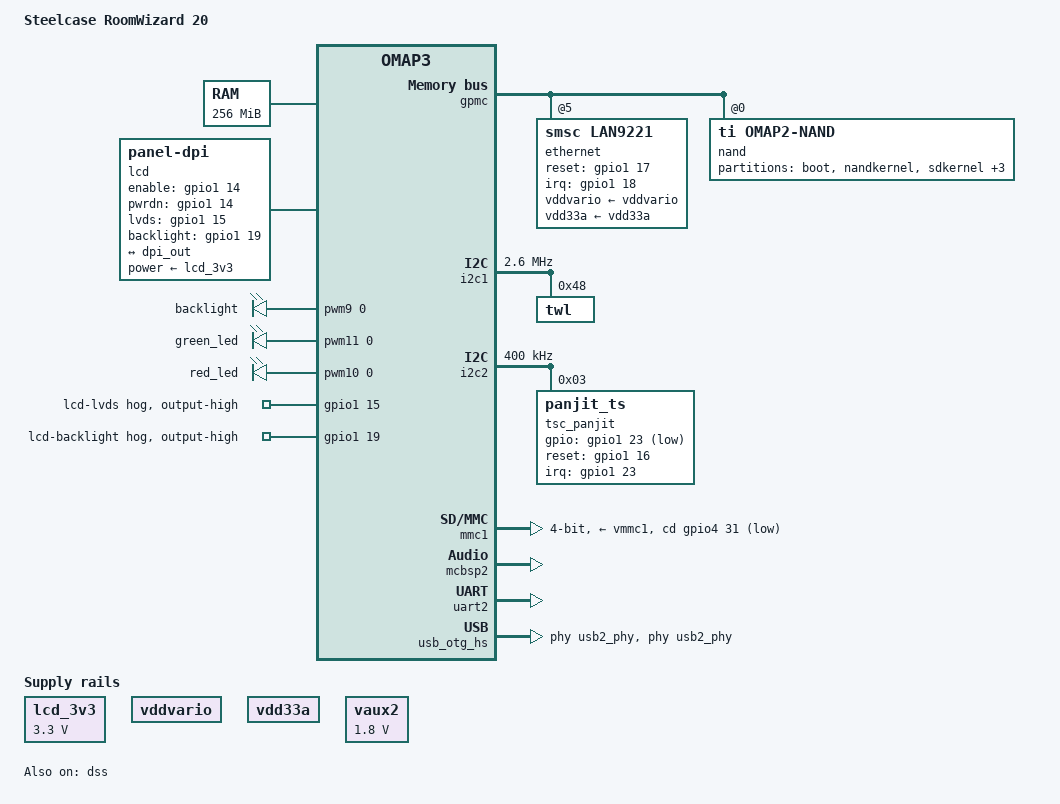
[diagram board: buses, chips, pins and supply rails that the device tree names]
// SPDX-License-Identifier: GPL-2.0-only
/*
 * rw20: the Steelcase RoomWizard 20 wall display, as the board our 4.14.52 image boots on.
 *
 * TI OMAP3503 (OMAP34xx dtsi), 256 MB RAM at 0x80000000, TWL4030 PMIC on I2C1, a 800x480 LVDS
 * panel on the DSS DPI port driven by the stock panel-dpi driver, an SMSC LAN9221 and a NAND on
 * the GPMC, one SD slot (MMC1), the console on UART2 (ttyO1), the USB OTG port on the TWL4030
 * PHY with the host controller's two ports in PHY mode, and LEDs and backlight driven by three
 * dmtimer PWMs. Authored from board facts (addresses, GPIO lines, pad settings and panel timing
 * measured on a unit; SYSTEM_ANALYSIS.md, HARDWARE.md), on top of the mainline dtsi files.
 *
 * Built by kernel/build-image.sh with the kernel tree's own include path and appended to
 * zImage. The bootloader fills /chosen (bootargs) at boot; nothing here sets it.
 */

/dts-v1/;

#include <dt-bindings/gpio/gpio.h>
#include <dt-bindings/interrupt-controller/irq.h>
#include <dt-bindings/pinctrl/omap.h>

#include "omap34xx.dtsi"

/ {
	model = "Steelcase RoomWizard 20";
	compatible = "ti,omap3-rw20", "ti,omap3";

	/*
	 * The TWL4030 is I2C bus 1 here, and the whole userspace (/dev/i2c-1 for the PMIC)
	 * counts that way. The mainline dtsi numbers its buses from 0, so those aliases go.
	 */
	aliases {
		/delete-property/ i2c0;
		display0 = &lcd0;
		i2c1 = &i2c1;
		i2c2 = &i2c2;
		i2c3 = &i2c3;
	};

	cpus {
		cpu@0 {
			cpu0-supply = <&vcc>;
		};
	};

	memory {
		device_type = "memory";
		reg = <0x80000000 0x10000000>;
	};

	/* The LCD logic supply: a fixed 3.3 V rail, no switch. */
	lcd_3v3: regulator-lcd-3v3 {
		compatible = "regulator-fixed";
		regulator-name = "lcd_3v3";
		regulator-min-microvolt = <3300000>;
		regulator-max-microvolt = <3300000>;
		startup-delay-us = <70000>;
	};

	/* The two supply rails the LAN9221 driver asks for by name. */
	vddvario: regulator-vddvario {
		compatible = "regulator-fixed";
		regulator-name = "vddvario";
		regulator-always-on;
	};

	vdd33a: regulator-vdd33a {
		compatible = "regulator-fixed";
		regulator-name = "vdd33a";
		regulator-always-on;
	};

	/*
	 * The 800x480 panel on the DPI port, claimed by omapfb's panel-dpi. That driver drives only
	 * enable-gpios (gpio1 line 14, power-down). The LVDS transmitter (line 15) and the backlight
	 * switch (line 19) are held high by hogs on &gpio1 below. The timings are the panel's own;
	 * omapfb sizes fb0 from data-lines, and syncclk-active is honoured by
	 * kernel/patches/omapdss-honour-syncclk-active.patch.
	 */
	lcd0: display {
		compatible = "panel-dpi";
		label = "lcd";
		data-lines = <24>;
		enable-gpios = <&gpio1 14 GPIO_ACTIVE_HIGH>;
		pwrdn-gpios = <&gpio1 14 GPIO_ACTIVE_HIGH>;
		lvds-gpios = <&gpio1 15 GPIO_ACTIVE_HIGH>;
		backlight-gpios = <&gpio1 19 GPIO_ACTIVE_HIGH>;
		power-supply = <&lcd_3v3>;

		panel-timing {
			clock-frequency = <33230770>;
			hactive = <800>;
			vactive = <480>;
			hsync-len = <128>;
			hfront-porch = <40>;
			hback-porch = <88>;
			vsync-len = <9>;
			vfront-porch = <9>;
			vback-porch = <26>;
			hsync-active = <0>;
			vsync-active = <0>;
			de-active = <1>;
			pixelclk-active = <1>;
			syncclk-active = <0>;
		};

		port {
			lcd_in: endpoint {
				remote-endpoint = <&dpi_out>;
			};
		};
	};

	/*
	 * Backlight and the two LED colours are PWM outputs of GPTIMER9, 10 and 11 (800 Hz). The
	 * node names carry the timer number without a reg, as the userspace-visible platform device
	 * names do.
	 */
	pwm9: dmtimer-pwm@9 {
		compatible = "ti,omap-dmtimer-pwm";
		#pwm-cells = <3>;
		ti,timers = <&timer9>;
		pinctrl-names = "default";
		pinctrl-0 = <&pinmux_backlight_pin>;
		status = "okay";
	};

	pwm10: dmtimer-pwm@10 {
		compatible = "ti,omap-dmtimer-pwm";
		#pwm-cells = <3>;
		ti,timers = <&timer10>;
		pinctrl-names = "default";
		pinctrl-0 = <&pinmux_red_led_pin>;
		status = "okay";
	};

	pwm11: dmtimer-pwm@11 {
		compatible = "ti,omap-dmtimer-pwm";
		#pwm-cells = <3>;
		ti,timers = <&timer11>;
		pinctrl-names = "default";
		pinctrl-0 = <&pinmux_green_led_pin>;
		status = "okay";
	};

	pwmleds {
		compatible = "pwm-leds";

		backlight {
			pwms = <&pwm9 0 1250000 0>;
			pwm-names = "backlight";
			max-brightness = <100>;
			brightness = <100>;
		};

		green_led {
			pwms = <&pwm11 0 1250000 0>;
			pwm-names = "green_led";
			max-brightness = <100>;
			brightness = <50>;
		};

		red_led {
			pwms = <&pwm10 0 1250000 0>;
			pwm-names = "red_led";
			max-brightness = <100>;
			brightness = <50>;
		};
	};

	/* The speaker amplifier is muted by gpio12; the mute pad is set up as GPIO output. */
	sound {
		compatible = "ti,omap-twl4030";
		ti,model = "rw20";
		ti,mcbsp = <&mcbsp2>;
		pinctrl-names = "default";
		pinctrl-0 = <&pinmux_spk_mute_pins>;
	};

	/* omap3.dtsi's PMU names no CPU for its interrupt, so perf logs "guessing" at boot. */
	pmu@54000000 {
		interrupt-affinity = <&cpu>;
	};
};

/*
 * Pad configuration. Core pads sit at 0x48002030 + offset (OMAP3_CORE1_IOPAD takes the absolute
 * address); the second block starting at 0x480025d8 holds the ETK pads used as GPIOs.
 */
&omap3_pmx_core {
	pinmux_backlight_pin: pinmux_backlight_pin {
		pinctrl-single,pins = <
			OMAP3_CORE1_IOPAD(0x21d8, PIN_OUTPUT | MUX_MODE1)	/* mcspi2_simo.gpt9_pwm_evt */
		>;
	};

	pinmux_red_led_pin: pinmux_red_led_pin {
		pinctrl-single,pins = <
			OMAP3_CORE1_IOPAD(0x21da, PIN_OUTPUT | MUX_MODE1)	/* mcspi2_somi.gpt10_pwm_evt */
		>;
	};

	pinmux_green_led_pin: pinmux_green_led_pin {
		pinctrl-single,pins = <
			OMAP3_CORE1_IOPAD(0x21dc, PIN_OUTPUT | MUX_MODE1)	/* mcspi2_cs0.gpt11_pwm_evt */
		>;
	};

	pinmux_dss_dpi_pins: pinmux_dss_dpi_pins {
		pinctrl-single,pins = <
			OMAP3_CORE1_IOPAD(0x20d4, PIN_OUTPUT | MUX_MODE0)	/* dss_pclk.dss_pclk */
			OMAP3_CORE1_IOPAD(0x20d6, PIN_OUTPUT | MUX_MODE0)	/* dss_hsync.dss_hsync */
			OMAP3_CORE1_IOPAD(0x20d8, PIN_OUTPUT | MUX_MODE0)	/* dss_vsync.dss_vsync */
			OMAP3_CORE1_IOPAD(0x20da, PIN_OUTPUT | MUX_MODE0)	/* dss_acbias.dss_acbias */
			OMAP3_CORE1_IOPAD(0x20dc, PIN_OUTPUT | MUX_MODE0)	/* dss_data0.dss_data0 */
			OMAP3_CORE1_IOPAD(0x20de, PIN_OUTPUT | MUX_MODE0)	/* dss_data1.dss_data1 */
			OMAP3_CORE1_IOPAD(0x20e0, PIN_OUTPUT | MUX_MODE0)	/* dss_data2.dss_data2 */
			OMAP3_CORE1_IOPAD(0x20e2, PIN_OUTPUT | MUX_MODE0)	/* dss_data3.dss_data3 */
			OMAP3_CORE1_IOPAD(0x20e4, PIN_OUTPUT | MUX_MODE0)	/* dss_data4.dss_data4 */
			OMAP3_CORE1_IOPAD(0x20e6, PIN_OUTPUT | MUX_MODE0)	/* dss_data5.dss_data5 */
			OMAP3_CORE1_IOPAD(0x20e8, PIN_OUTPUT | MUX_MODE0)	/* dss_data6.dss_data6 */
			OMAP3_CORE1_IOPAD(0x20ea, PIN_OUTPUT | MUX_MODE0)	/* dss_data7.dss_data7 */
			OMAP3_CORE1_IOPAD(0x20ec, PIN_OUTPUT | MUX_MODE0)	/* dss_data8.dss_data8 */
			OMAP3_CORE1_IOPAD(0x20ee, PIN_OUTPUT | MUX_MODE0)	/* dss_data9.dss_data9 */
			OMAP3_CORE1_IOPAD(0x20f0, PIN_OUTPUT | MUX_MODE0)	/* dss_data10.dss_data10 */
			OMAP3_CORE1_IOPAD(0x20f2, PIN_OUTPUT | MUX_MODE0)	/* dss_data11.dss_data11 */
			OMAP3_CORE1_IOPAD(0x20f4, PIN_OUTPUT | MUX_MODE0)	/* dss_data12.dss_data12 */
			OMAP3_CORE1_IOPAD(0x20f6, PIN_OUTPUT | MUX_MODE0)	/* dss_data13.dss_data13 */
			OMAP3_CORE1_IOPAD(0x20f8, PIN_OUTPUT | MUX_MODE0)	/* dss_data14.dss_data14 */
			OMAP3_CORE1_IOPAD(0x20fa, PIN_OUTPUT | MUX_MODE0)	/* dss_data15.dss_data15 */
			OMAP3_CORE1_IOPAD(0x20fc, PIN_OUTPUT | MUX_MODE0)	/* dss_data16.dss_data16 */
			OMAP3_CORE1_IOPAD(0x20fe, PIN_OUTPUT | MUX_MODE0)	/* dss_data17.dss_data17 */
			OMAP3_CORE1_IOPAD(0x2100, PIN_OUTPUT | MUX_MODE0)	/* dss_data18.dss_data18 */
			OMAP3_CORE1_IOPAD(0x2102, PIN_OUTPUT | MUX_MODE0)	/* dss_data19.dss_data19 */
			OMAP3_CORE1_IOPAD(0x2104, PIN_OUTPUT | MUX_MODE0)	/* dss_data20.dss_data20 */
			OMAP3_CORE1_IOPAD(0x2106, PIN_OUTPUT | MUX_MODE0)	/* dss_data21.dss_data21 */
			OMAP3_CORE1_IOPAD(0x2108, PIN_OUTPUT | MUX_MODE0)	/* dss_data22.dss_data22 */
			OMAP3_CORE1_IOPAD(0x210a, PIN_OUTPUT | MUX_MODE0)	/* dss_data23.dss_data23 */
		>;
	};

	/* gpmc_ncs5: the chip select the LAN9221 sits on */
	pinmux_gpmc_pins: pinmux_gpmc_pins {
		pinctrl-single,pins = <
			OMAP3_CORE1_IOPAD(0x20b8, PIN_OUTPUT | MUX_MODE0)	/* gpmc_ncs5.gpmc_ncs5 */
		>;
	};

	pinmux_hsusb_otg_pins: pinmux_hsusb_otg_pins {
		pinctrl-single,pins = <
			OMAP3_CORE1_IOPAD(0x21a2, PIN_INPUT | MUX_MODE0)	/* hsusb0_clk.hsusb0_clk */
			OMAP3_CORE1_IOPAD(0x21a4, PIN_OUTPUT | MUX_MODE0)	/* hsusb0_stp.hsusb0_stp */
			OMAP3_CORE1_IOPAD(0x21a6, PIN_INPUT | MUX_MODE0)	/* hsusb0_dir.hsusb0_dir */
			OMAP3_CORE1_IOPAD(0x21a8, PIN_INPUT | MUX_MODE0)	/* hsusb0_nxt.hsusb0_nxt */
			OMAP3_CORE1_IOPAD(0x21aa, PIN_INPUT | MUX_MODE0)	/* hsusb0_data0.hsusb0_data0 */
			OMAP3_CORE1_IOPAD(0x21ac, PIN_INPUT | MUX_MODE0)	/* hsusb0_data1.hsusb0_data1 */
			OMAP3_CORE1_IOPAD(0x21ae, PIN_INPUT | MUX_MODE0)	/* hsusb0_data2.hsusb0_data2 */
			OMAP3_CORE1_IOPAD(0x21b0, PIN_INPUT | MUX_MODE0)	/* hsusb0_data3.hsusb0_data3 */
			OMAP3_CORE1_IOPAD(0x21b2, PIN_INPUT | MUX_MODE0)	/* hsusb0_data4.hsusb0_data4 */
			OMAP3_CORE1_IOPAD(0x21b4, PIN_INPUT | MUX_MODE0)	/* hsusb0_data5.hsusb0_data5 */
			OMAP3_CORE1_IOPAD(0x21b6, PIN_INPUT | MUX_MODE0)	/* hsusb0_data6.hsusb0_data6 */
			OMAP3_CORE1_IOPAD(0x21b8, PIN_INPUT | MUX_MODE0)	/* hsusb0_data7.hsusb0_data7 */
		>;
	};

	pinmux_i2c1_pins: pinmux_i2c1_pins {
		pinctrl-single,pins = <
			OMAP3_CORE1_IOPAD(0x21ba, PIN_INPUT | MUX_MODE0)	/* i2c1_scl.i2c1_scl */
			OMAP3_CORE1_IOPAD(0x21bc, PIN_INPUT | MUX_MODE0)	/* i2c1_sda.i2c1_sda */
		>;
	};

	pinmux_i2c2_pins: pinmux_i2c2_pins {
		pinctrl-single,pins = <
			OMAP3_CORE1_IOPAD(0x21be, PIN_INPUT | MUX_MODE0)	/* i2c2_scl.i2c2_scl */
			OMAP3_CORE1_IOPAD(0x21c0, PIN_INPUT | MUX_MODE0)	/* i2c2_sda.i2c2_sda */
		>;
	};

	/* The SD slot's card-detect switch, read as a GPIO (see &mmc1) */
	pinmux_mmc1_cd_pin: pinmux_mmc1_cd_pin {
		pinctrl-single,pins = <
			OMAP3_CORE1_IOPAD(0x2150, PIN_INPUT | MUX_MODE4)	/* sdmmc1_dat4.gpio_126 */
		>;
	};

	pinmux_uart2_pins: pinmux_uart2_pins {
		pinctrl-single,pins = <
			OMAP3_CORE1_IOPAD(0x2170, PIN_OUTPUT | MUX_MODE1)	/* mcbsp3_clkx.uart2_tx */
			OMAP3_CORE1_IOPAD(0x2172, PIN_INPUT | MUX_MODE1)	/* mcbsp3_fsx.uart2_rx */
		>;
	};
};

/* The ETK pads, used as GPIO lines 12 to 19 of bank 1 */
&omap3_pmx_core2 {
	pinctrl-names = "default";
	pinctrl-0 = <&pinmux_lcd_pins>;

	/* gpio17 is the LAN9221 reset (output); gpio18 its interrupt (input) */
	pinmux_lan_pins: pinmux_lan_pins {
		pinctrl-single,pins = <
			OMAP3430_CORE2_IOPAD(0x25e4, INPUT_EN | PULL_UP | MUX_MODE4)	/* etk_d4.gpio_18 */
			OMAP3430_CORE2_IOPAD(0x25e2, PIN_OUTPUT | MUX_MODE4)		/* etk_d3.gpio_17 */
		>;
	};

	/* gpio14 panel power-down, gpio15 LVDS transmitter, gpio19 backlight switch */
	pinmux_lcd_pins: pinmux_lcd_pins {
		pinctrl-single,pins = <
			OMAP3430_CORE2_IOPAD(0x25dc, PIN_OUTPUT | MUX_MODE4)	/* etk_d0.gpio_14 */
			OMAP3430_CORE2_IOPAD(0x25de, PIN_OUTPUT | MUX_MODE4)	/* etk_d1.gpio_15 */
			OMAP3430_CORE2_IOPAD(0x25e6, PIN_OUTPUT | MUX_MODE4)	/* etk_d5.gpio_19 */
		>;
	};

	pinmux_spk_mute_pins: pinmux_spk_mute_pins {
		pinctrl-single,pins = <
			OMAP3430_CORE2_IOPAD(0x25d8, PIN_OUTPUT | MUX_MODE4)	/* etk_clk.gpio_12 */
		>;
	};

	pinmux_ts_rst_pins: pinmux_ts_rst_pins {
		pinctrl-single,pins = <
			OMAP3430_CORE2_IOPAD(0x25e0, PIN_OUTPUT | MUX_MODE4)	/* etk_d2.gpio_16 */
		>;
	};

	pinmux_vbus_enable_pins: pinmux_vbus_enable_pins {
		pinctrl-single,pins = <
			OMAP3430_CORE2_IOPAD(0x25da, PIN_OUTPUT | MUX_MODE4)	/* etk_ctl.gpio_13 */
		>;
	};
};

/* The LCD transmitter and the backlight switch are on from the moment gpio1 probes. */
&gpio1 {
	lcd-lvds-hog {
		gpio-hog;
		gpios = <15 GPIO_ACTIVE_HIGH>;
		output-high;
		line-name = "lcd-lvds";
	};

	lcd-backlight-hog {
		gpio-hog;
		gpios = <19 GPIO_ACTIVE_HIGH>;
		output-high;
		line-name = "lcd-backlight";
	};
};

&dss {
	status = "okay";
	pinctrl-names = "default";
	pinctrl-0 = <&pinmux_dss_dpi_pins>;
	vdds_dsi-supply = <&vpll2>;
	vdda_video-supply = <&lcd_3v3>;

	port {
		dpi_out: endpoint {
			remote-endpoint = <&lcd_in>;
			data-lines = <24>;
		};
	};
};

/*
 * LAN9221 on chip select 5 and NAND on chip select 0. The NAND is the vendor's: its partition
 * table is kept so the layout stays documented, nothing in our image mounts it.
 */
&gpmc {
	ranges = <5 0 0x2c000000 0x1000000>,
		 <0 0 0x30000000 0x1000000>;

	ethernet@gpmc {
		compatible = "smsc,lan9221", "smsc,lan9115";
		reg = <5 0 0xff>;
		bank-width = <2>;
		reg-io-width = <4>;
		smsc,save-mac-address;

		pinctrl-names = "default";
		pinctrl-0 = <&pinmux_lan_pins>;
		pinctrl-1 = <&pinmux_gpmc_pins>;
		interrupt-parent = <&gpio1>;
		interrupts = <18 IRQ_TYPE_LEVEL_LOW>;
		reset-gpios = <&gpio1 17 GPIO_ACTIVE_HIGH>;
		vddvario-supply = <&vddvario>;
		vdd33a-supply = <&vdd33a>;

		/*
		 * Timings tightened from the vendor's (cs/oe/we off 150/140, cycles 155, access 120,
		 * turnaround and cycle-to-cycle 75). Measured at runtime on a unit with the same registers
		 * written by devmem: Ethernet RX 5.0-5.7 -> 7.2-9.0 MB/s, TX 3.4 -> 4.8 MB/s, no errors.
		 * GPMC_FCLK is the 166 MHz L3 clock (6.024 ns/tick, inferred from "Core 332 MHz"; the
		 * live registers matched the old values rounded up at that tick), and the driver rounds
		 * every ns value up to whole ticks, so these give CONFIG2 00090901, CONFIG4 09020902,
		 * CONFIG5 04080C0C, CONFIG6 800002C2. Against LAN9221 DS00002416A tables 6-3 and 6-7:
		 * nCS+nRD (or nWR) asserted 42 ns (min 32); read and write cycle 72 (min 45);
		 * deasserted 24 (min 13); read data is sampled at 48 and the chip has it 30 ns after nRD
		 * falls at 12, i.e. by 42 (tcsdv max 30); write data setup >= 42 (min 7).
		 * Read data margin is the tightest (6 ns): do not shorten access-ns or lengthen oe-on-ns.
		 */
		gpmc,device-width = <1>;
		gpmc,cs-on-ns = <5>;
		gpmc,cs-rd-off-ns = <54>;
		gpmc,cs-wr-off-ns = <54>;
		gpmc,adv-on-ns = <0>;
		gpmc,adv-rd-off-ns = <15>;
		gpmc,adv-wr-off-ns = <40>;
		gpmc,oe-on-ns = <12>;
		gpmc,oe-off-ns = <54>;
		gpmc,we-on-ns = <12>;
		gpmc,we-off-ns = <54>;
		gpmc,rd-cycle-ns = <72>;
		gpmc,wr-cycle-ns = <72>;
		gpmc,access-ns = <48>;
		gpmc,wr-access-ns = <0>;
		gpmc,page-burst-access-ns = <20>;
		gpmc,bus-turnaround-ns = <12>;
		gpmc,cycle2cycle-delay-ns = <12>;
		gpmc,cycle2cycle-samecsen = <1>;
		gpmc,cycle2cycle-diffcsen = <1>;
		gpmc,clk-activation-ns = <0>;
		gpmc,wait-monitoring-ns = <0>;
		gpmc,wr-data-mux-bus-ns = <0>;
	};

	nand@0,0 {
		compatible = "ti,omap2-nand";
		reg = <0 0 4>;
		#address-cells = <1>;
		#size-cells = <1>;
		linux,mtd-name = "micron,nand";
		nand-bus-width = <16>;
		ti,nand-ecc-opt = "bch8";

		gpmc,device-width = <2>;
		gpmc,sync-clk-ps = <0>;
		gpmc,cs-on-ns = <0>;
		gpmc,cs-rd-off-ns = <44>;
		gpmc,cs-wr-off-ns = <44>;
		gpmc,adv-on-ns = <6>;
		gpmc,adv-rd-off-ns = <34>;
		gpmc,adv-wr-off-ns = <44>;
		gpmc,oe-off-ns = <54>;
		gpmc,we-off-ns = <40>;
		gpmc,rd-cycle-ns = <82>;
		gpmc,wr-cycle-ns = <82>;
		gpmc,access-ns = <64>;
		gpmc,wr-access-ns = <40>;
		gpmc,wr-data-mux-bus-ns = <0>;

		partition@0 {
			label = "boot";
			reg = <0x0 0x300000>;
		};

		partition@300000 {
			label = "nandkernel";
			reg = <0x300000 0xb00000>;
		};

		partition@e00000 {
			label = "sdkernel";
			reg = <0xe00000 0xb00000>;
		};

		partition@1900000 {
			label = "bootstrap";
			reg = <0x1900000 0x5c00000>;
		};

		partition@7500000 {
			label = "scratch";
			reg = <0x7500000 0xb00000>;
		};

		partition@8000000 {
			label = "controlblock";
			reg = <0x8000000 0x400000>;
		};
	};
};

/* I2C1 is the PMIC bus, at 2.6 MHz (the TWL4030's high-speed mode). */
&i2c1 {
	clock-frequency = <2600000>;
	pinctrl-names = "default";
	pinctrl-0 = <&pinmux_i2c1_pins>;

	twl: twl@48 {
		reg = <0x48>;
		interrupt-parent = <&intc>;
		interrupts = <7>;	/* sys_nirq */
	};
};

/* The mainline description of the TWL4030's functions; it fills in the &twl declared above. */
#include "twl4030.dtsi"

/* I2C2: the Panjit touch controller. Its driver is kernel/drivers/cy8ctmg120_ts. */
&i2c2 {
	clock-frequency = <400000>;
	pinctrl-names = "default";
	pinctrl-0 = <&pinmux_i2c2_pins>;

	tsc_panjit@03 {
		compatible = "panjit_ts";
		reg = <0x03>;
		pinctrl-names = "default";
		pinctrl-0 = <&pinmux_ts_rst_pins>;
		interrupt-parent = <&gpio1>;
		interrupts = <23 IRQ_TYPE_EDGE_FALLING>;
		gpios = <&gpio1 23 GPIO_ACTIVE_LOW>;
		reset-gpios = <&gpio1 16 GPIO_ACTIVE_HIGH>;
	};
};

&i2c3 {
	status = "disabled";
};

&twl {
	/*
	 * `poweroff` asks the PMIC to switch the board off: with this child, twl4030-power binds and
	 * ti,system-power-controller sets pm_power_off to twl4030_power_off (DEVOFF). The generic
	 * compatible loads no sleep or warm-reset scripts and configures no resources.
	 */
	power {
		compatible = "ti,twl4030-power";
		ti,system-power-controller;
	};

	audio {
		compatible = "ti,twl4030-audio";
		codec {
		};
	};
};

/* The backup-battery cell the charger tops up: 3.2 V at 500 uA. */
&charger {
	ti,bb-uvolt = <3200000>;
	ti,bb-uamp = <500>;
};

/* VAUX2 is the EHCI supply, VPLL2 the DSS PLL supply; both stay on. */
&vaux2 {
	regulator-name = "vdd_ehci";
	regulator-min-microvolt = <1800000>;
	regulator-max-microvolt = <1800000>;
	regulator-always-on;
};

&vpll2 {
	regulator-name = "vdds_dsi";
	regulator-always-on;
};

&mmc1 {
	pinctrl-names = "default";
	pinctrl-0 = <&pinmux_mmc1_cd_pin>;
	vmmc-supply = <&vmmc1>;
	vmmc_aux-supply = <&vsim>;
	bus-width = <4>;
	cd-gpios = <&gpio4 31 GPIO_ACTIVE_LOW>;
	/* The slot has no write-protect line; without this every card insert logs a warning. */
	disable-wp;
};

&mmc2 {
	status = "disabled";
};

&mmc3 {
	status = "disabled";
};

&mcbsp2 {
	status = "okay";
};

/* The console is UART2 (ttyO1). */
&uart1 {
	status = "disabled";
};

&uart2 {
	status = "okay";
	pinctrl-names = "default";
	pinctrl-0 = <&pinmux_uart2_pins>;
};

&uart3 {
	status = "disabled";
};

/*
 * USB OTG on the TWL4030 ULPI PHY, dual role. `power` is in units of 2 mA: 250 is the 500 mA a
 * USB 2.0 port may offer, which musb_host_setup() turns into the root hub's bus power budget.
 * Both host-controller ports run through external PHYs. pinctrl-1 names the VBUS-enable pad (gpio13),
 * but only the "default" state is ever selected, so that pad is left as the bootloader set it.
 */
&usb_otg_hs {
	interface-type = <0>;
	mode = <3>;
	power = <250>;
	usb-phy = <&usb2_phy>;
	phys = <&usb2_phy>;
	phy-names = "usb2-phy";
	pinctrl-names = "default";
	pinctrl-0 = <&pinmux_hsusb_otg_pins>;
	pinctrl-1 = <&pinmux_vbus_enable_pins>;
};

&usbhshost {
	port1-mode = "ehci-phy";
	port2-mode = "ehci-phy";
};
